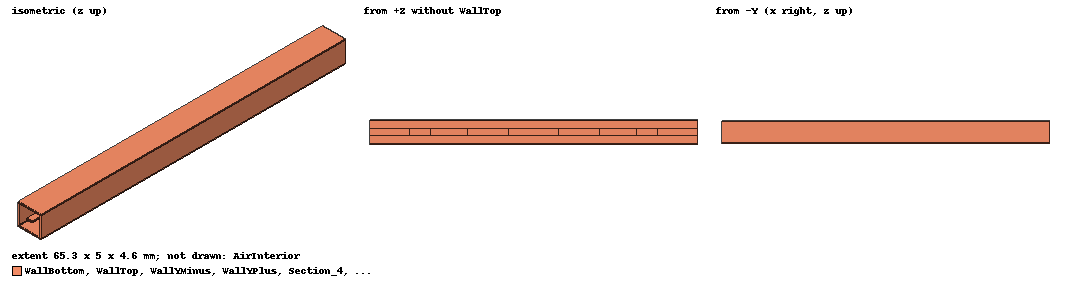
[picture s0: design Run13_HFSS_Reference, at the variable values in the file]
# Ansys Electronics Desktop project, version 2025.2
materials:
  vacuum: permittivity=1
  copper: permeability=0.999991 conductivity=58000000
  air: permittivity=1.0006 permeability=1.0000004
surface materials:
  Steel-oxidised-surface

design Run13_HFSS_Reference (HFSS, HFSS Modal Network, model units mm)
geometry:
  WallBottom [copper] = box(corner=(0mm, -2.5mm, -2.3mm), size=(65.3mm, 5mm, 0.2mm))
  WallTop [copper] = box(corner=(0mm, -2.5mm, 2.1mm), size=(65.3mm, 5mm, 0.2mm))
  WallYMinus [copper] = box(corner=(0mm, -2.5mm, -2.1mm), size=(65.3mm, 0.2mm, 4.2mm))
  WallYPlus [copper] = box(corner=(0mm, 2.3mm, -2.1mm), size=(65.3mm, 0.2mm, 4.2mm))
  InputLaunch [copper] = box(corner=(0mm, -0.6mm, -0.14335964mm), size=(8mm, 1.2mm, 0.28671928mm))
  Section_1 [copper] = box(corner=(8mm, -0.6mm, -0.14335964mm), size=(4.07365691mm, 1.2mm, 0.28671928mm))
  Section_2 [copper] = box(corner=(12.07365691mm, -0.6mm, -0.38174583mm), size=(7.53238661mm, 1.2mm, 0.76349166mm))
  Section_3 [copper] = box(corner=(19.60604352mm, -0.6mm, -0.14335964mm), size=(8.07101208mm, 1.2mm, 0.28671928mm))
  Section_4 [copper] = box(corner=(27.6770556mm, -0.6mm, -0.38174583mm), size=(9.9458888mm, 1.2mm, 0.76349166mm))
  Section_5 [copper] = box(corner=(37.6229444mm, -0.6mm, -0.14335964mm), size=(8.07101208mm, 1.2mm, 0.28671928mm))
  Section_6 [copper] = box(corner=(45.69395648mm, -0.6mm, -0.38174583mm), size=(7.53238661mm, 1.2mm, 0.76349166mm))
  Section_7 [copper] = box(corner=(53.22634309mm, -0.6mm, -0.14335964mm), size=(4.07365691mm, 1.2mm, 0.28671928mm))
  OutputLaunch [copper] = box(corner=(57.3mm, -0.6mm, -0.14335964mm), size=(8mm, 1.2mm, 0.28671928mm))
  AirInterior [air] = box(corner=(0mm, -2.3mm, -2.1mm), size=(65.3mm, 4.6mm, 4.2mm))
  InputLaunch_1 = InputLaunch.copy()
  Section_1_1 = Section_1.copy()
  Section_2_1 = Section_2.copy()
  Section_3_1 = Section_3.copy()
  Section_4_1 = Section_4.copy()
  Section_5_1 = Section_5.copy()
  Section_6_1 = Section_6.copy()
  Section_7_1 = Section_7.copy()
  OutputLaunch_1 = OutputLaunch.copy()
  AirInterior.subtract(InputLaunch_1, Section_1_1, Section_2_1, Section_3_1, Section_4_1, Section_5_1, Section_6_1, Section_7_1, OutputLaunch_1)
  Port1_Sheet = rectangle(corner=(7mm, -0.6mm, 0.14335964mm), y_size=1.2mm, z_size=1.95664036mm)
  Port2_Sheet = rectangle(corner=(58.3mm, -0.6mm, 0.14335964mm), y_size=1.2mm, z_size=1.95664036mm)
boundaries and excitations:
  Port1: Lumped Port Objects=Port1_Sheet LumpedPortType=Modal Modes{Mode1{IntLine{(7, 0, 0.14335964) -> (7, 0, 2.1)} CharImp=Zpi RenormImp=50ohm}} Impedance=50ohm
  Port2: Lumped Port Objects=Port2_Sheet LumpedPortType=Modal Modes{Mode1{IntLine{(58.3, 0, 0.14335964) -> (58.3, 0, 2.1)} CharImp=Zpi RenormImp=50ohm}} Impedance=50ohm
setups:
  Setup1: HfssDriven Frequency=28GHz MaxDeltaS=0.02 MaximumPasses=10 MinimumPasses=2 MinimumConvergedPasses=1 PercentRefinement=30 BasisOrder=1 PortAccuracy=2 DrivenSolverType="Direct Solver"
    sweep Sweep1: 0.5GHz to 28GHz, 401 points; Type=Interpolating InterpTolerance=0.5 InterpMaxSolns=250 InterpUsePortImped=false PassivityErrorTolerance=0.0001
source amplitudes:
  Port1:1: 1W 0deg
  Port2:1: 0W 0deg
